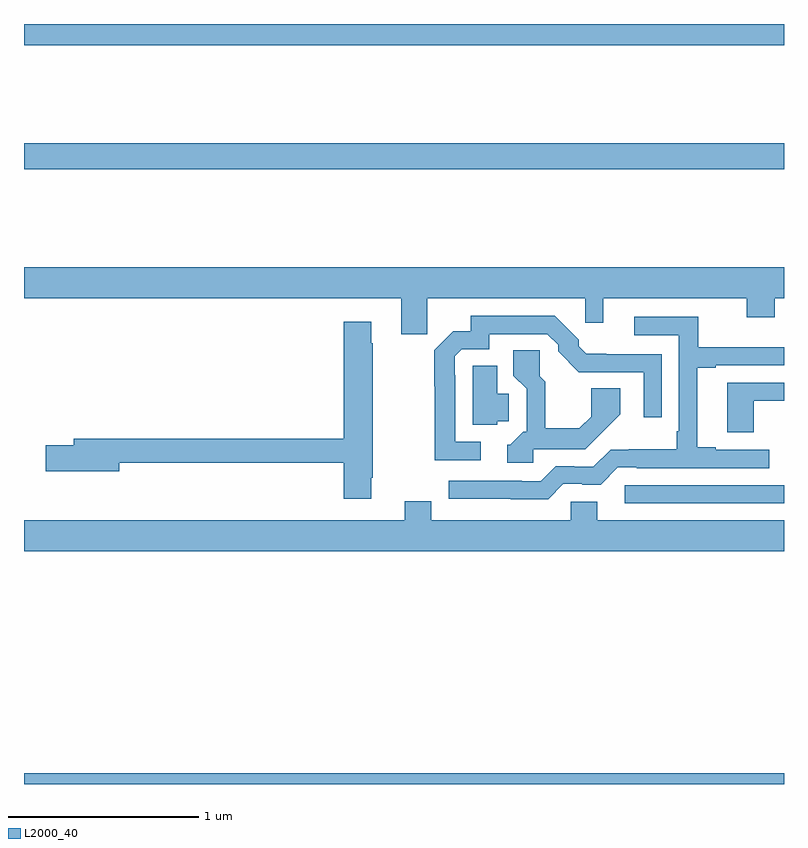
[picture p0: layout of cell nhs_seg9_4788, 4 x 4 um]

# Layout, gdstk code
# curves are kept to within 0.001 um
import gdstk
lib = gdstk.Library(unit=1e-6, precision=1e-09)
def R(c, l, rs):  # rectangles x0, y0, x1, y1
    for r in rs: c.add(gdstk.rectangle(r[:2], r[2:], *l))
def P(c, l, *ps):  # polygons
    for p in ps: c.add(gdstk.Polygon(p, *l))
L2000_40 = (2000, 40)

nhs_seg9_4788 = lib.new_cell('nhs_seg9_4788')
R(nhs_seg9_4788, L2000_40, [(387,1224.5,391,1224.556), (390.162,1225.977,391,1226.073), (387,1227.736,391,1227.872), (387,1228.388,391,1228.5)])
P(nhs_seg9_4788, L2000_40, [(389.123,1227.056),(389.953,1227.056),(389.953,1226.927),(390.049,1226.927),(390.049,1227.056),(390.803,1227.056),(390.803,1226.957),(390.951,1226.957),(390.951,1227.056),(391,1227.056),(391,1227.22),(387,1227.22),(387,1227.056),(388.985,1227.056),(388.985,1226.868),(389.123,1226.868)],
  [(389.404,1226.301),(389.271,1226.301),(389.271,1226.651),(389.268,1226.651),(389.268,1226.751),(389.304,1226.787),(389.448,1226.787),(389.448,1226.868),(389.754,1226.868),(389.811,1226.811),(389.811,1226.777),(389.921,1226.667),(390.261,1226.667),(390.261,1226.43),(390.357,1226.43),(390.357,1226.763),(389.96,1226.764),(389.92,1226.805),(389.92,1226.839),(389.794,1226.964),(389.35,1226.964),(389.35,1226.884),(389.26,1226.884),(389.16,1226.784),(389.16,1226.593),(389.163,1226.593),(389.163,1226.205),(389.404,1226.205)],
  [(389.838,1226.079),(389.939,1226.079),(389.939,1226.076),(390.036,1226.076),(390.126,1226.166),(390.226,1226.166),(390.226,1226.163),(390.922,1226.163),(390.922,1226.259),(390.64,1226.259),(390.64,1226.272),(390.544,1226.272),(390.544,1226.691),(390.64,1226.691),(390.64,1226.703),(391,1226.703),(391,1226.8),(390.548,1226.8),(390.548,1226.958),(390.213,1226.958),(390.213,1226.862),(390.447,1226.862),(390.447,1226.356),(390.435,1226.356),(390.435,1226.263),(390.184,1226.263),(390.184,1226.259),(390.087,1226.259),(389.997,1226.169),(389.897,1226.169),(389.897,1226.172),(389.799,1226.172),(389.721,1226.094),(389.621,1226.094),(389.621,1226.097),(389.235,1226.097),(389.235,1226.001),(389.759,1226)],
  [(388.828,1226.113),(388.836,1226.113),(388.836,1226.819),(388.828,1226.819),(388.828,1226.932),(388.682,1226.932),(388.682,1226.318),(387.263,1226.318),(387.263,1226.282),(387.114,1226.282),(387.114,1226.147),(387.502,1226.147),(387.502,1226.19),(388.682,1226.19),(388.682,1226.001),(388.828,1226.001)],
  [(389.679,1226.262),(389.953,1226.262),(390.139,1226.446),(390.139,1226.582),(389.985,1226.582),(389.985,1226.434),(389.923,1226.373),(389.744,1226.373),(389.744,1226.618),(389.715,1226.647),(389.715,1226.782),(389.576,1226.782),(389.576,1226.65),(389.646,1226.58),(389.646,1226.355),(389.628,1226.355),(389.559,1226.286),(389.543,1226.286),(389.543,1226.19),(389.679,1226.19)],
  [(389.49,1226.409),(389.55,1226.409),(389.55,1226.555),(389.491,1226.555),(389.491,1226.702),(389.361,1226.702),(389.361,1226.39),(389.49,1226.39)],
  [(390.841,1226.517),(391,1226.517),(391,1226.613),(390.701,1226.613),(390.701,1226.352),(390.841,1226.352)],
  [(391,1225.888),(390.016,1225.888),(390.016,1225.986),(389.877,1225.986),(389.877,1225.888),(389.143,1225.888),(389.143,1225.987),(389.003,1225.987),(389.003,1225.888),(387,1225.888),(387,1225.724),(391,1225.724)])

lib.write_gds('nhs_seg9_4788.gds')
